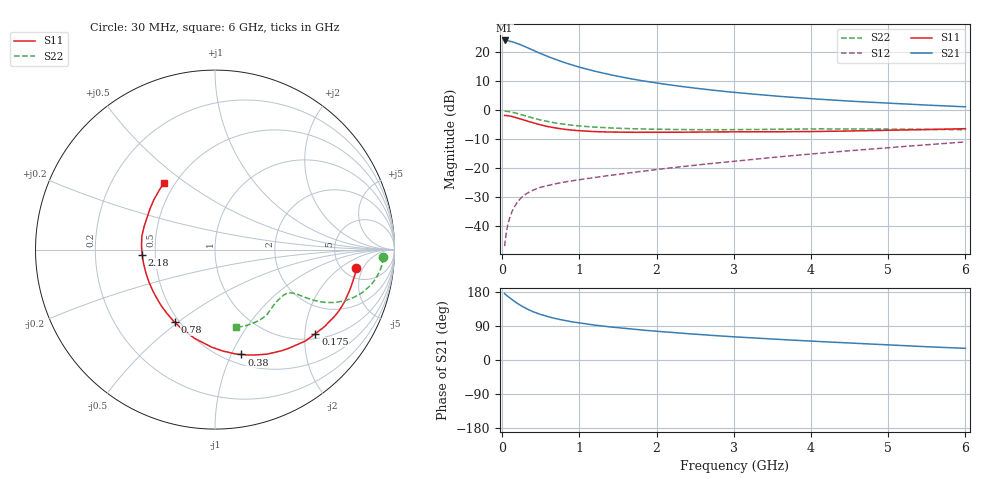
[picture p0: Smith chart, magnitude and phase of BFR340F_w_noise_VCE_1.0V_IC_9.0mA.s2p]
! Infineon Technologies  Discrete & RF Semiconductors
! BFR340F
! VCE =  1.0 V,  IC =  9.0 mA
! Common Emitter S-Parameters:  Nov 2015
# GHz  S  MA  R  50
!  f  S11  S21  S12  S22
! GHz  MAG  ANG  MAG  ANG  MAG  ANG  MAG  ANG
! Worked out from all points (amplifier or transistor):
!   206 points, 30 MHz to 6 GHz, reference 50 ohm
!   highest |S21| = 23.9 dB at 30 MHz (marker M1)
!   |S21| within 3 dB of that: start of sweep to 367.6 MHz
!   unconditionally stable (mu >= 1): 1.219 GHz to end of sweep
!   at 200 MHz: K = 0.27, MSG = 27.3 dB, |S12| = -31.8 dB
!   at 1.56 GHz: K = 1.11, MAG = 14.6 dB, |S12| = -22.1 dB
!   at 6 GHz: K = 1.01, MAG = 5.4 dB, |S12| = -11.1 dB
!   lowest NFmin = 1.39 dB at 450 MHz
!   S11 on the Smith chart (normalised r, x): 30 MHz: 6.62, -3.64; 175 MHz: 1.14, -2.26; 380 MHz: 0.60, -1.09; 780 MHz: 0.47, -0.49; 2.18 GHz: 0.42, -0.03; 6 GHz: 0.44, +0.42
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0.03  0.7929 -7.4  15.61 175.4  0.0044 83.7  0.9393 -2.6
0.05  0.7891 -11.9  15.46 171.3  0.0072 81.5  0.9355 -4.6
0.09  0.7788 -21.6  15.25 165.1  0.0128 79.1  0.9219 -8.2
0.14  0.7512 -32.6  14.68 157.3  0.0192 74.1  0.8945 -12.3
0.175  0.7289 -39.9  14.11 152.3  0.023 70.6  0.8701 -14.7
0.2  0.7168 -45.2  13.78 148.7  0.0258 68.8  0.853 -16.4
0.26  0.6747 -56.6  12.78 141.3  0.0313 64.4  0.8087 -19.6
0.3  0.6506 -63.6  12.12 136.8  0.0345 62.0  0.7793 -21.4
0.38  0.6022 -75.9  10.86 129.1  0.0396 58.4  0.7259 -23.9
0.5  0.5436 -92.0  9.243 119.9  0.0457 54.9  0.6593 -26.2
0.6  0.5071 -103.1  8.15 113.7  0.0495 53.5  0.6172 -27.2
0.78  0.4626 -119.0  6.658 105.4  0.0554 52.9  0.564 -27.9
0.9  0.4433 -127.9  5.91 100.8  0.0589 53.2  0.5386 -28.3
1.04  0.4281 -136.4  5.224 96.5  0.0629 54.1  0.5171 -28.6
1.24  0.4154 -146.7  4.464 91.0  0.0687 55.7  0.495 -29.3
1.5  0.4073 -157.3  3.75 85.0  0.0764 57.9  0.4763 -30.5
2.02  0.4051 -172.2  2.852 75.5  0.0931 61.9  0.4577 -34.2
2.18  0.4065 -175.9  2.656 72.9  0.0985 63.0  0.4548 -35.4
3.1  0.4139 167.7  1.931 60.1  0.1329 67.2  0.4516 -44.3
4.1  0.4198 153.1  1.513 48.8  0.176 69.1  0.4647 -53.1
5.1  0.4415 139.5  1.272 38.7  0.2254 68.9  0.4604 -63.8
6  0.4688 127.3  1.118 30.8  0.2771 67.2  0.4492 -74.8
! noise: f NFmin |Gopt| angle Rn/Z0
0.45  1.39  0.29  0  0.28
0.9  1.47  0.28  10  0.31
1.9  1.87  0.14  0  0.29
2.4  2.1  0.08  -1  0.3
